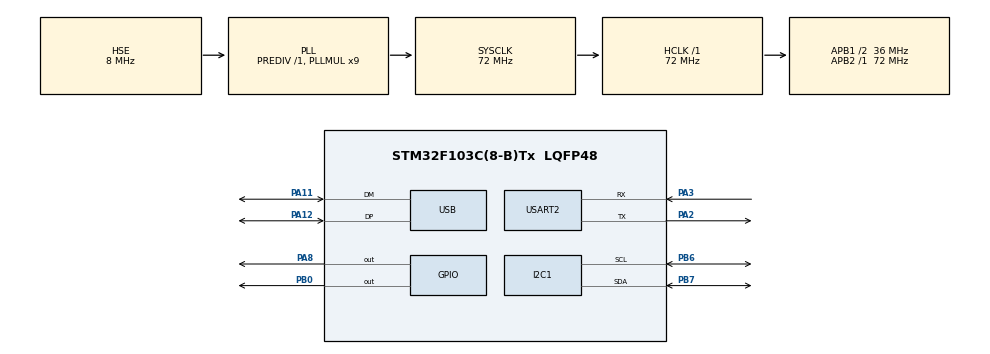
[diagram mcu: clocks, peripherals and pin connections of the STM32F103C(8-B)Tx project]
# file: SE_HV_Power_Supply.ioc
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Mcu.Family=STM32F1
Mcu.Name=STM32F103C(8-B)Tx
Mcu.Package=LQFP48
NVIC.PriorityGroup=NVIC_PRIORITYGROUP_4
NVIC.USART2_IRQn=true\:0\:0\:false\:false\:true
NVIC.USB_LP_CAN1_RX0_IRQn=true\:0\:0\:false\:false\:true
PA11.Mode=Device
PA11.Signal=USB_DM
PA12.Mode=Device
PA12.Signal=USB_DP
PA13.Mode=Serial_Wire
PA13.Signal=SYS_JTMS-SWDIO
PA14.Mode=Serial_Wire
PA14.Signal=SYS_JTCK-SWCLK
PA2.Mode=Asynchronous
PA2.Signal=USART2_TX
PA3.Mode=Asynchronous
PA3.Signal=USART2_RX
PA8.GPIO_Speed=GPIO_SPEED_FREQ_HIGH
PA8.PinState=GPIO_PIN_SET
PA8.Signal=GPIO_Output
PB0.GPIO_Speed=GPIO_SPEED_FREQ_HIGH
PB0.Signal=GPIO_Output
PB6.Mode=I2C
PB6.Signal=I2C1_SCL
PB7.Mode=I2C
PB7.Signal=I2C1_SDA
PD0-OSC_IN.Mode=HSE-External-Oscillator
PD0-OSC_IN.Signal=RCC_OSC_IN
PD1-OSC_OUT.Mode=HSE-External-Oscillator
PD1-OSC_OUT.Signal=RCC_OSC_OUT
ProjectManager.HeapSize=0x200
ProjectManager.StackSize=0x400
ProjectManager.TargetToolchain=EWARM
RCC.AHBFreq_Value=72000000
RCC.APB1CLKDivider=RCC_HCLK_DIV2
RCC.APB1Freq_Value=36000000
RCC.APB1TimFreq_Value=72000000
RCC.APB2Freq_Value=72000000
RCC.APB2TimFreq_Value=72000000
RCC.HCLKFreq_Value=72000000
RCC.HSIState=RCC_HSI_ON
RCC.PLLMUL=RCC_PLL_MUL9
RCC.SYSCLKFreq_VALUE=72000000
RCC.SYSCLKSource=RCC_SYSCLKSOURCE_PLLCLK
RCC.USBFreq_Value=48000000
RCC.USBPrescaler=RCC_USBCLKSOURCE_PLL_DIV1_5
USB_DEVICE.CLASS_NAME_FS=CDC
USB_DEVICE.VirtualModeFS=Cdc_FS
VP_USB_DEVICE_VS_USB_DEVICE_CDC_FS.Mode=CDC_FS
board=Pilna

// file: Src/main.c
/**
  ******************************************************************************
  * File Name          : main.c
  * Description        : Main program body
  ******************************************************************************
  *
  * Copyright (c) 2017 STMicroelectronics International N.V.
  * All rights reserved.
  *
  * Redistribution and use in source and binary forms, with or without
  * modification, are permitted, provided that the following conditions are met:
  *
  * 1. Redistribution of source code must retain the above copyright notice,
  *    this list of conditions and the following disclaimer.
  * 2. Redistributions in binary form must reproduce the above copyright notice,
  *    this list of conditions and the following disclaimer in the documentation
  *    and/or other materials provided with the distribution.
  * 3. Neither the name of STMicroelectronics nor the names of other
  *    contributors to this software may be used to endorse or promote products
  *    derived from this software without specific written permission.
  * 4. This software, including modifications and/or derivative works of this
  *    software, must execute solely and exclusively on microcontroller or
  *    microprocessor devices manufactured by or for STMicroelectronics.
  * 5. Redistribution and use of this software other than as permitted under
  *    this license is void and will automatically terminate your rights under
  *    this license.
  *
  * THIS SOFTWARE IS PROVIDED BY STMICROELECTRONICS AND CONTRIBUTORS "AS IS"
  * AND ANY EXPRESS, IMPLIED OR STATUTORY WARRANTIES, INCLUDING, BUT NOT
  * LIMITED TO, THE IMPLIED WARRANTIES OF MERCHANTABILITY, FITNESS FOR A
  * PARTICULAR PURPOSE AND NON-INFRINGEMENT OF THIRD PARTY INTELLECTUAL PROPERTY
  * RIGHTS ARE DISCLAIMED TO THE FULLEST EXTENT PERMITTED BY LAW. IN NO EVENT
  * SHALL STMICROELECTRONICS OR CONTRIBUTORS BE LIABLE FOR ANY DIRECT, INDIRECT,
  * INCIDENTAL, SPECIAL, EXEMPLARY, OR CONSEQUENTIAL DAMAGES (INCLUDING, BUT NOT
  * LIMITED TO, PROCUREMENT OF SUBSTITUTE GOODS OR SERVICES; LOSS OF USE, DATA,
  * OR PROFITS; OR BUSINESS INTERRUPTION) HOWEVER CAUSED AND ON ANY THEORY OF
  * LIABILITY, WHETHER IN CONTRACT, STRICT LIABILITY, OR TORT (INCLUDING
  * NEGLIGENCE OR OTHERWISE) ARISING IN ANY WAY OUT OF THE USE OF THIS SOFTWARE,
  * EVEN IF ADVISED OF THE POSSIBILITY OF SUCH DAMAGE.
  *
  ******************************************************************************
  */
#include "main.h"
#include "stm32f1xx_hal.h"
#include "usb_device.h"

/* USER CODE BEGIN Includes */
#include "NEXTION.h"
#include "usbd_core.h"
#include "usbd_desc.h"
#include "usbd_cdc.h"
#include "usbd_cdc_if.h"

#include <stdio.h>
#include <stdint.h>
#include <stdlib.h>
#include <string.h>

/* USER CODE END Includes */

I2C_HandleTypeDef hi2c1;

UART_HandleTypeDef huart2;

/* USER CODE BEGIN PV */
/* Private variables ---------------------------------------------------------*/
//-------------------------------------------------  USB var -------------------
char RxBuffer[12];
uint8_t counter = 0, Buffer_full = 0;

int number;
uint8_t cnt, dim = 0;
uint8_t Val_buf[6];
uint16_t Bit_value = 0;
float Dec_number = 0;
//------------------------------------------------ main variables --------------
uint8_t DataRX[8],prevButtState=0,lastButtonState ;

uint8_t lastOnOFFState, prevOnOFFState;
uint16_t Counter1 = 0, Measure, Counter2, Mode,  Check_USB;

unsigned char string[20], string2[20], string3[20], string4[20], string5[20] ;

uint8_t  Rx_data[1], Rx_indx, data,  SendProgBarVal, undim = 0, counter3 = 0 ;

uint16_t tmp=0,Value=3740,Value2=0 ;
/* USER CODE END PV */

void SystemClock_Config(void);
void Error_Handler(void);
static void MX_GPIO_Init(void);
static void MX_I2C1_Init(void);
static void MX_USART2_UART_Init(void);

/* USER CODE BEGIN PFP */
/* Private function prototypes -----------------------------------------------*/

void Byte_process(uint8_t data)
{
  if(data == 0x65) // if buttons pushed
  {
    DataRX[0] = data;
    Rx_indx=0;
  }
  else if(data == 0x71) // if slider moved
  {
    DataRX[0] = data;
    Rx_indx=0;
  }
  else if(data == 0x1A) // ignore TSD response
  {
    Rx_indx=0;
  }
   else if(data == 0x68) // ignore TSD response
  {
    Rx_indx=0;
  }
    DataRX[Rx_indx ++] = data;
}

void HAL_UART_RxCpltCallback(UART_HandleTypeDef *huart) // UART RX complete interupt callback
{
  if (huart->Instance == USART2){ // if UART2
  data = Rx_data[0]; // collect data
  HAL_UART_Receive_IT(&huart2, Rx_data, 1); // reinicialize Receive_IT
   __HAL_UART_ENABLE_IT(&huart2, UART_IT_RXNE); // enable ISR when buffer not empty
  Byte_process(data); // process received data
  }
}

/* USER CODE END PFP */

int main(void)
{

  /* MCU Configuration----------------------------------------------------------*/

  /* Reset of all peripherals, Initializes the Flash interface and the Systick. */
  HAL_Init();

  /* Configure the system clock */
  SystemClock_Config();

  /* Initialize all configured peripherals */
  MX_GPIO_Init();
  MX_I2C1_Init();
  MX_USART2_UART_Init();
  MX_USB_DEVICE_Init();

  /* USER CODE BEGIN 2 */
  HAL_GPIO_WritePin(GPIOB,GPIO_PIN_0,GPIO_PIN_RESET); //Shut down SMPS
  HAL_Delay(1000);
  MCP4725_Write(3740);
  HAL_Delay(1000);
  HAL_GPIO_WritePin(GPIOB,GPIO_PIN_0,GPIO_PIN_SET); //Shut down SMPS
  HAL_Delay(1000);
  HAL_GPIO_WritePin(GPIOA,GPIO_PIN_8, GPIO_PIN_RESET);
  HAL_Delay(1000);
  dim = 0;
  undim = 1;
  HAL_UART_Init(&huart2);
  HAL_Delay(100);
  HAL_UART_Receive_IT(&huart2, Rx_data, 1);
  __HAL_UART_ENABLE_IT(&huart2, UART_IT_RXNE); // interupt (buffer not empty)
  HAL_Delay(100);

  /* USER CODE END 2 */

  /* Infinite loop */
  while (1)
  {

  /* USER CODE BEGIN 3 */

    if (Check_USB == 1)
  {
     if (hUsbDeviceFS.dev_state == 0x03) // if USB is connected
    {
    Mode = 1;    // USB mode

    }
    else if (hUsbDeviceFS.dev_state != 0x03) // if USB disconected
    {
    //MCP4725_Write(3740);
    //HAL_Delay(10);
    Mode = 0; // TSD mode
    Check_USB = 0;
    dim = 1;

    }
  }
    switch (Mode)
  {
//=============================================================================
    case 1: // USB mode switch case
      while(dim == 1)
      {
    HAL_GPIO_WritePin(GPIOB,GPIO_PIN_0,GPIO_PIN_RESET); //Shut down SMPS
    MCP4725_Write(3740);
    HAL_Delay(10);
    sprintf(string4,"dims=%03d",0);
    string4[8]=0xff;
    string4[9]=0xff;
    string4[10]=0xff;
    HAL_UART_Transmit_IT(&huart2, string4 ,11); // dim the TSD screen
    HAL_Delay(10);
    sprintf(string4,"tsw h0,%d\n",0); // disable slider touch function
    string4[8]=0xff;
    string4[9]=0xff;
    string4[10]=0xff;
    HAL_UART_Transmit_IT(&huart2, string4 ,11);
    HAL_Delay(10);
    sprintf(string4,"tsw b0,%d\n",0); // disable button + touch function
    string4[8]=0xff;
    string4[9]=0xff;
    string4[10]=0xff;
    HAL_UART_Transmit_IT(&huart2, string4 ,11);
    HAL_Delay(10);
    sprintf(string4,"tsw b1,%d\n",0); // disable button - touch function
    string4[8]=0xff;
    string4[9]=0xff;
    string4[10]=0xff;
    HAL_UART_Transmit_IT(&huart2, string4 ,11);
    HAL_Delay(10);
    sprintf(string4,"tsw b2,%d\n",0); // disable button on/off touch function
    string4[8]=0xff;
    string4[9]=0xff;
    string4[10]=0xff;
    HAL_UART_Transmit_IT(&huart2, string4 ,11);
    HAL_Delay(10);
    sprintf(string4,"tsw r0,%d\n",0); // disable on/off state touch function
    string4[8]=0xff;
    string4[9]=0xff;
    string4[10]=0xff;
    HAL_UART_Transmit_IT(&huart2, string4 ,11);
    HAL_Delay(10);
    HAL_GPIO_WritePin(GPIOB,GPIO_PIN_0,GPIO_PIN_SET); //Shut down SMPS
    dim = 0;
    undim = 1;
    if(Buffer_full == 1)

  {
    for(int i = 0; i<12; i++)
    {
      RxBuffer[i] = 0; }
      Buffer_full = 0;
  }
      }
//---------------------------------------- flag of sucessfull reception from USB
   if(Buffer_full == 1)
    {
    if(RxBuffer[0] == 'o' && RxBuffer[1] == 'u'&& RxBuffer[2] == 't' && RxBuffer[3] == '='
    && isdigit(RxBuffer[4]) && isdigit(RxBuffer[5]) && isdigit(RxBuffer[6])
    && RxBuffer[7] == '.' && isdigit(RxBuffer[8]) && isdigit(RxBuffer[9])) //---------------- only if this statment is confirmed
    { //------------------------------------------------------------------------------------- the out value is converted
        Val_buf[0] = RxBuffer[4];
        Val_buf[1] = RxBuffer[5];
        Val_buf[2] = RxBuffer[6];
        Val_buf[3] = RxBuffer[7];
        Val_buf[4] = RxBuffer[8];
        Val_buf[5] = RxBuffer[9];
        Dec_number = strtof(Val_buf, NULL);
    if(Dec_number >= 0 && Dec_number <= 298)
    {
    Bit_value = (298.08 - Dec_number)/0.0797;
    MCP4725_Write(Bit_value);
    }
    else     MCP4725_Write(5);
    }
      else
      {
    while(cnt == 0)
      {
      CDC_Transmit_FS("\r Entered Command Is Incorrect\n", 30);
      HAL_Delay(1000);
      CDC_Transmit_FS("\r Command Format Is: out=000.00\n", 31);
      cnt = 1;
      }
     }
    }
    break; // ----------------------------------------------- end of USB mode case

 //=============================================================================
    case 0: // ---------------------------------------------- TSD mode switch case

    if(DataRX[0] == 0x71 ) //---------------------------------- if slider moved
    {

        tmp = DataRX[2] << 8;

        Value = 3740 - (tmp + DataRX[1]);

        Value2 = tmp + DataRX[1];

        SendProgBarVal = Value2 / 37.4;
        sprintf(string,"j0.val=%03d\n",(uint8_t)SendProgBarVal); // send value to prgress bar
        string[10]=0xff;
        string[11]=0xff;
        string[12]=0xff;
        HAL_UART_Transmit_IT(&huart2, string, 13);
        MCP4725_Write(Value);

    }

        else if( DataRX[0] == 0x65 && DataRX[2] == 0x06 ){ // button " + "

          if (DataRX[3] != lastButtonState ){

             if ( Value >= 7 && Value2 <= 3733) {

                 if ( DataRX[3] == 0x01 ){

                    Value = Value - 7;

                    Value2 = Value2 + 7;

                    MCP4725_Write(Value);

                    SendProgBarVal = Value2 / 37.4;
                    sprintf(string,"j0.val=%03d\n",(uint8_t)SendProgBarVal);
                    string[10]=0xff;
                    string[11]=0xff;
                    string[12]=0xff;
                    HAL_UART_Transmit_IT(&huart2, string, 13);
                 }
              }
            }
          }

        else if(DataRX[0] == 0x65 && DataRX[2] == 0x07){ // button " --- "

          if (DataRX[3] != lastButtonState ){

            if( Value < 3733 && Value2 >= 7 ){

                if (DataRX[3] == 0x01 )
             {
                Value = Value + 7;

                Value2 = Value2 - 7;

                MCP4725_Write(Value);

                SendProgBarVal = Value2 / 37.4;
                sprintf(string,"j0.val=%03d\n",(uint8_t)SendProgBarVal);
                string[10]=0xff;
                string[11]=0xff;
                string[12]=0xff;
                HAL_UART_Transmit_IT(&huart2, string, 13);
                     }
             }
            }
          }
        else if( DataRX[0] == 0x65 && DataRX[2] == 0x08) //-- ON/OFF state button
        {

          if (DataRX[3] != lastOnOFFState && DataRX[3] == 1 ) {counter3++;}

          if (counter3 == 1)
          {
            HAL_GPIO_WritePin(GPIOB,GPIO_PIN_0,GPIO_PIN_RESET);
            sprintf(string,"r0.val=%d\n",0); // arg 1 - enable, 0- disable
            string[8]=0xff;
            string[9]=0xff;
            string[10]=0xff;
            HAL_UART_Transmit_IT(&huart2, string ,11);
          }
        else if(counter3 == 2)
        {
          HAL_GPIO_WritePin(GPIOB,GPIO_PIN_0,GPIO_PIN_SET);
          sprintf(string,"r0.val=%d\n",1);
          string[8]=0xff;
          string[9]=0xff;
          string[10]=0xff;
          HAL_UART_Transmit_IT(&huart2, string ,11);
          MCP4725_Write(Value);
          counter3 = 0;
        }
      }
lastButtonState = DataRX[3];
lastOnOFFState = DataRX[3];
  /* USER CODE BEGIN 3 */
  HAL_Delay(10);

//====================================================== Read adc ch and update TSD
  if( Measure == 1)
  {

  sprintf(string3,"t3.txt=\"%6.2f\"",HVVPlus(20));
  string3[15]=0xff;
  string3[16]=0xff;
  string3[17]=0xff;
  HAL_UART_Transmit_IT(&huart2, string3, 18);

  sprintf(string3,"t5.txt=\"-%3.3f\"",HVCMinus(20));
  string3[15]=0xff;
  string3[16]=0xff;
  string3[17]=0xff;
  HAL_UART_Transmit_IT(&huart2, string3 ,18);

  sprintf(string3,"t1.txt=\"%2.3f\"",HVCPlus(20));
  string3[14]=0xff;
  string3[15]=0xff;
  string3[16]=0xff;
  HAL_UART_Transmit_IT(&huart2, string3, 17);

  sprintf(string3,"t7.txt=\"-%6.2f\"",HVVMinus(20));
  string3[16]=0xff;
  string3[17]=0xff;
  string3[18]=0xff;
  HAL_UART_Transmit_IT(&huart2, string3 ,19);

  sprintf(string3,"t9.txt=\"%2.3f\"",HVVPlus(20)*HVCPlus(20));
  string3[14]=0xff;
  string3[15]=0xff;
  string3[16]=0xff;
  HAL_UART_Transmit_IT(&huart2, string3, 17);

 //  HAL_Delay(10);
 // sprintf(string5,"dims=%03d",100);
 //   string5[8]=0xff;
 //   string5[9]=0xff;
 //   string5[10]=0xff;
 //   HAL_UART_Transmit_IT(&huart2, string5 ,11); // dim the TSD screen

  while(undim == 1)
      {
    HAL_GPIO_WritePin(GPIOB,GPIO_PIN_0,GPIO_PIN_RESET);
    MCP4725_Write(3740);
    HAL_Delay(10);
    sprintf(string5,"dims=%03d",100);
    string5[8]=0xff;
    string5[9]=0xff;
    string5[10]=0xff;
    HAL_UART_Transmit_IT(&huart2, string5 ,11); // dim the TSD screen
    HAL_Delay(10);
    sprintf(string5,"tsw h0,%d\n",1); // disable slider touch function
    string5[8]=0xff;
    string5[9]=0xff;
    string5[10]=0xff;
    HAL_UART_Transmit_IT(&huart2, string5 ,11);
    HAL_Delay(10);
    sprintf(string5,"tsw b0,%d\n",1); // disable button + touch function
    string5[8]=0xff;
    string5[9]=0xff;
    string5[10]=0xff;
    HAL_UART_Transmit_IT(&huart2, string5 ,11);
    HAL_Delay(10);
    sprintf(string5,"tsw b1,%d\n",1); // disable button - touch function
    string5[8]=0xff;
    string5[9]=0xff;
    string5[10]=0xff;
    HAL_UART_Transmit_IT(&huart2, string5 ,11);
    HAL_Delay(10);
    sprintf(string5,"tsw b2,%d\n",1); // disable button on/off touch function
    string5[8]=0xff;
    string5[9]=0xff;
    string5[10]=0xff;
    HAL_UART_Transmit_IT(&huart2, string5 ,11);
    HAL_Delay(10);
    sprintf(string5,"tsw r0,%d\n",1); // disable on/off state touch function
    string5[8]=0xff;
    string5[9]=0xff;
    string5[10]=0xff;
    HAL_UART_Transmit_IT(&huart2, string5 ,11);
    dim = 1;
    undim = 0;
      }
  Measure = 0;
  }
break;

  /* USER CODE END 3 */
  }
  }

  /* USER CODE END 3 */
}

/** System Clock Configuration
*/
void SystemClock_Config(void)
{

  RCC_OscInitTypeDef RCC_OscInitStruct;
  RCC_ClkInitTypeDef RCC_ClkInitStruct;
  RCC_PeriphCLKInitTypeDef PeriphClkInit;

    /**Initializes the CPU, AHB and APB busses clocks
    */
  RCC_OscInitStruct.OscillatorType = RCC_OSCILLATORTYPE_HSE;
  RCC_OscInitStruct.HSEState = RCC_HSE_ON;
  RCC_OscInitStruct.HSEPredivValue = RCC_HSE_PREDIV_DIV1;
  RCC_OscInitStruct.HSIState = RCC_HSI_ON;
  RCC_OscInitStruct.PLL.PLLState = RCC_PLL_ON;
  RCC_OscInitStruct.PLL.PLLSource = RCC_PLLSOURCE_HSE;
  RCC_OscInitStruct.PLL.PLLMUL = RCC_PLL_MUL9;
  if (HAL_RCC_OscConfig(&RCC_OscInitStruct) != HAL_OK)
  {
    Error_Handler();
  }

    /**Initializes the CPU, AHB and APB busses clocks
    */
  RCC_ClkInitStruct.ClockType = RCC_CLOCKTYPE_HCLK|RCC_CLOCKTYPE_SYSCLK
                              |RCC_CLOCKTYPE_PCLK1|RCC_CLOCKTYPE_PCLK2;
  RCC_ClkInitStruct.SYSCLKSource = RCC_SYSCLKSOURCE_PLLCLK;
  RCC_ClkInitStruct.AHBCLKDivider = RCC_SYSCLK_DIV1;
  RCC_ClkInitStruct.APB1CLKDivider = RCC_HCLK_DIV2;
  RCC_ClkInitStruct.APB2CLKDivider = RCC_HCLK_DIV1;

  if (HAL_RCC_ClockConfig(&RCC_ClkInitStruct, FLASH_LATENCY_2) != HAL_OK)
  {
    Error_Handler();
  }

  PeriphClkInit.PeriphClockSelection = RCC_PERIPHCLK_USB;
  PeriphClkInit.UsbClockSelection = RCC_USBCLKSOURCE_PLL_DIV1_5;
  if (HAL_RCCEx_PeriphCLKConfig(&PeriphClkInit) != HAL_OK)
  {
    Error_Handler();
  }

    /**Configure the Systick interrupt time
    */
  HAL_SYSTICK_Config(HAL_RCC_GetHCLKFreq()/1000);

    /**Configure the Systick
    */
  HAL_SYSTICK_CLKSourceConfig(SYSTICK_CLKSOURCE_HCLK);

  /* SysTick_IRQn interrupt configuration */
  HAL_NVIC_SetPriority(SysTick_IRQn, 0, 0);
}

/* I2C1 init function */
static void MX_I2C1_Init(void)
{

  hi2c1.Instance = I2C1;
  hi2c1.Init.ClockSpeed = 100000;
  hi2c1.Init.DutyCycle = I2C_DUTYCYCLE_2;
  hi2c1.Init.OwnAddress1 = 0;
  hi2c1.Init.AddressingMode = I2C_ADDRESSINGMODE_7BIT;
  hi2c1.Init.DualAddressMode = I2C_DUALADDRESS_DISABLE;
  hi2c1.Init.OwnAddress2 = 0;
  hi2c1.Init.GeneralCallMode = I2C_GENERALCALL_DISABLE;
  hi2c1.Init.NoStretchMode = I2C_NOSTRETCH_DISABLE;
  if (HAL_I2C_Init(&hi2c1) != HAL_OK)
  {
    Error_Handler();
  }

}

/* USART2 init function */
static void MX_USART2_UART_Init(void)
{

  huart2.Instance = USART2;
  huart2.Init.BaudRate = 115200;
  huart2.Init.WordLength = UART_WORDLENGTH_8B;
  huart2.Init.StopBits = UART_STOPBITS_1;
  huart2.Init.Parity = UART_PARITY_NONE;
  huart2.Init.Mode = UART_MODE_TX_RX;
  huart2.Init.HwFlowCtl = UART_HWCONTROL_NONE;
  huart2.Init.OverSampling = UART_OVERSAMPLING_16;
  if (HAL_UART_Init(&huart2) != HAL_OK)
  {
    Error_Handler();
  }

}

/** Configure pins as
        * Analog
        * Input
        * Output
        * EVENT_OUT
        * EXTI
*/
static void MX_GPIO_Init(void)
{

  GPIO_InitTypeDef GPIO_InitStruct;

  /* GPIO Ports Clock Enable */
  __HAL_RCC_GPIOD_CLK_ENABLE();
  __HAL_RCC_GPIOA_CLK_ENABLE();
  __HAL_RCC_GPIOB_CLK_ENABLE();

  /*Configure GPIO pin Output Level */
  HAL_GPIO_WritePin(GPIOB, GPIO_PIN_0, GPIO_PIN_RESET);

  /*Configure GPIO pin Output Level */
  HAL_GPIO_WritePin(GPIOA, GPIO_PIN_8, GPIO_PIN_SET);

  /*Configure GPIO pin : PB0 */
  GPIO_InitStruct.Pin = GPIO_PIN_0;
  GPIO_InitStruct.Mode = GPIO_MODE_OUTPUT_PP;
  GPIO_InitStruct.Speed = GPIO_SPEED_FREQ_HIGH;
  HAL_GPIO_Init(GPIOB, &GPIO_InitStruct);

  /*Configure GPIO pin : PA8 */
  GPIO_InitStruct.Pin = GPIO_PIN_8;
  GPIO_InitStruct.Mode = GPIO_MODE_OUTPUT_PP;
  GPIO_InitStruct.Speed = GPIO_SPEED_FREQ_HIGH;
  HAL_GPIO_Init(GPIOA, &GPIO_InitStruct);

}

void Error_Handler(void)
{
  while(1)
  {
  }
}

/************************ (C) COPYRIGHT STMicroelectronics *****END OF FILE****/
